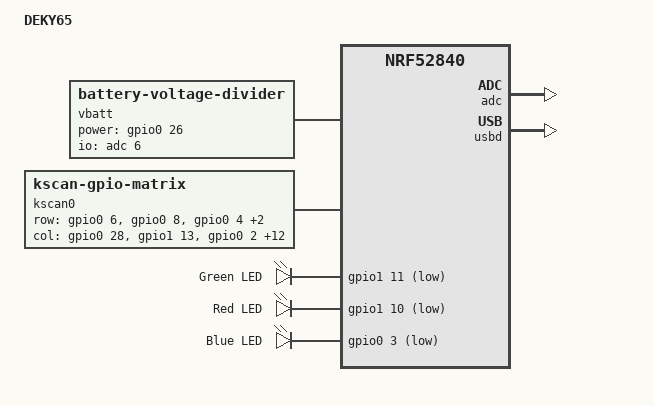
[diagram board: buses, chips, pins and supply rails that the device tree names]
/*
 * Copyright (c) 2025 Deemen17 Works
 *
 * SPDX-License-Identifier: MIT
 */

/dts-v1/;
#include <nordic/nrf52840_qiaa.dtsi>
#include <dt-bindings/led/led.h>

// #include "deky65-pinctrl.dtsi"
#include "deky65-layouts.dtsi"
#include "deky65-transforms.dtsi"

/ {
    model = "DEKY65";
    compatible = "deemen17,deky65", "nordic,nrf52840";

    chosen {
        zephyr,code-partition = &code_partition;
        zephyr,sram = &sram0;
        zephyr,flash = &flash0;
        zmk,kscan = &kscan0;
        zmk,battery = &vbatt;
        zmk,studio-rpc-uart = &cdc_acm_uart;
        zephyr,console = &cdc_acm_uart;
    };

    vbatt: vbatt {
        compatible = "zmk,battery-voltage-divider";
        io-channels = <&adc 6>; // P0.30
        output-ohms = <2000000>;
        full-ohms = <(1000000 + 2000000)>;
        power-gpios = <&gpio0 26 GPIO_ACTIVE_HIGH>; // P0.26
    };

    kscan0: kscan {
        compatible = "zmk,kscan-gpio-matrix";
        wakeup-source;
        diode-direction = "col2row";
        row-gpios
            = <&gpio0 6  (GPIO_ACTIVE_HIGH | GPIO_PULL_DOWN)>
            , <&gpio0 8  (GPIO_ACTIVE_HIGH | GPIO_PULL_DOWN)>
            , <&gpio0 4  (GPIO_ACTIVE_HIGH | GPIO_PULL_DOWN)>
            , <&gpio0 12 (GPIO_ACTIVE_HIGH | GPIO_PULL_DOWN)>
            , <&gpio1 6  (GPIO_ACTIVE_HIGH | GPIO_PULL_DOWN)>
            ;
        col-gpios
            = <&gpio0 28 GPIO_ACTIVE_HIGH>
            , <&gpio1 13 GPIO_ACTIVE_HIGH>
            , <&gpio0 2  GPIO_ACTIVE_HIGH>
            , <&gpio0 29 GPIO_ACTIVE_HIGH>
            , <&gpio0 31 GPIO_ACTIVE_HIGH>
            , <&gpio0 7  GPIO_ACTIVE_HIGH>
            , <&gpio0 24 GPIO_ACTIVE_HIGH>
            , <&gpio0 13 GPIO_ACTIVE_HIGH>
            , <&gpio1 4  GPIO_ACTIVE_HIGH>
            , <&gpio1 2  GPIO_ACTIVE_HIGH>
            , <&gpio1 0  GPIO_ACTIVE_HIGH>
            , <&gpio0 22 GPIO_ACTIVE_HIGH>
            , <&gpio0 20 GPIO_ACTIVE_HIGH>
            , <&gpio0 17 GPIO_ACTIVE_HIGH>
            , <&gpio0 15 GPIO_ACTIVE_HIGH>
            ;
    };

    aliases {
		ledgreen = &led_0;
		ledred   = &led_1;
		ledblue  = &led_2;
	};

    leds {
        compatible = "gpio-leds";
        status = "okay";
        led_0: led_green { 
            gpios = <&gpio1 11 GPIO_ACTIVE_LOW>;
            label = "Green LED"; 
        };

        led_1: led_red { 
            gpios = <&gpio1 10 GPIO_ACTIVE_LOW>;
            label = "Red LED";
        };
        
        led_2: led_blue { 
            gpios = <&gpio0 3  GPIO_ACTIVE_LOW>;
            label = "Blue LED";
        };
    };
    
};

&gpio0 {
    status = "okay";
};

&gpio1 {
    status = "okay";
};

&adc {
    status = "okay";
};

zephyr_udc0: &usbd {
    status = "okay";
};

&usbd {
    status = "okay";
    cdc_acm_uart: cdc_acm_uart {
        compatible = "zephyr,cdc-acm-uart";
        status = "okay";
    };
};

&flash0 {
    /*
     * For more information, see:
     * http://docs.zephyrproject.org/latest/devices/dts/flash_partitions.html
     */
    partitions {
        compatible = "fixed-partitions";
        #address-cells = <1>;
        #size-cells = <1>;

        sd_partition: partition@0 {
            label = "softdevice";
            reg = <0x00000000 0x00026000>;
        };
        code_partition: partition@26000 {
            label = "code_partition";
            reg = <0x00026000 0x000c6000>;
        };

        /*
         * The flash starting at 0x000ec000 and ending at
         * 0x000f3fff is reserved for use by the application.
         */

        /*
         * Storage partition will be used by FCB/LittleFS/NVS
         * if enabled.
         */
        storage_partition: partition@ec000 {
            label = "storage";
            reg = <0x000ec000 0x00008000>;
        };

        boot_partition: partition@f4000 {
            label = "adafruit_boot";
            reg = <0x000f4000 0x0000c000>;
        };
    };
};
